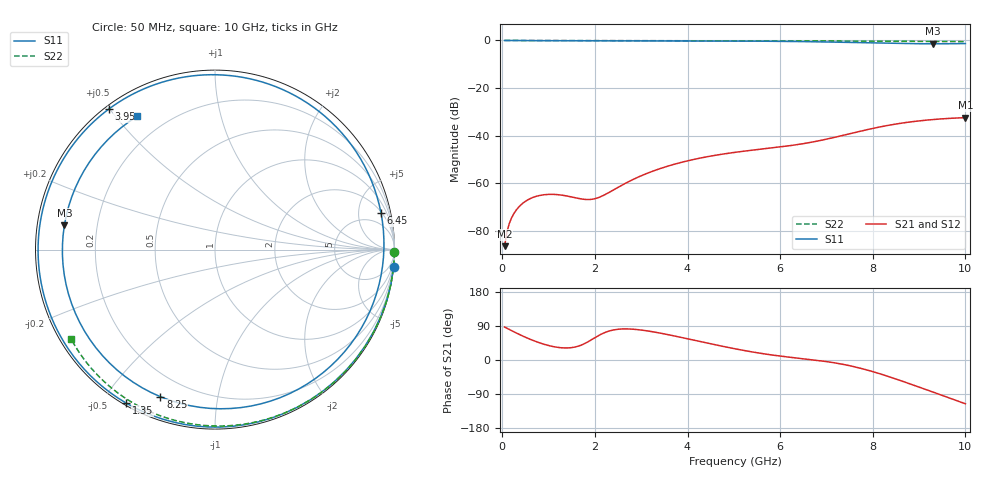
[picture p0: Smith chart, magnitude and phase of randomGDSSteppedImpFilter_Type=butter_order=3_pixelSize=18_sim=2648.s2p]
! freq	dB(S11)	phase(S11)	dB(S12)	phase(S12)
!  dB(S21)	phase(S21)	dB(S22)	phase(S22)
!S-par simulation data
#  GHz  S  DB  R 50
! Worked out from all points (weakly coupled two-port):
!   200 points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, 50 MHz to 10 GHz, reference 50 ohm
!   highest |S21| = -32.44 dB at 10 GHz (marker M1); lowest = -86.4 dB at 50 MHz (marker M2)
!   lowest |S11| = -1.4 dB at 9.3 GHz (marker M3), VSWR 12.33, Z = 4.08 + j3.98 ohm
!   |S11| at or under -10 dB: nowhere
!   |S22| runs from -0.5 to 0.0 dB; largest |S21 - S12| = 0
!   S11 on the Smith chart (normalised r, x): 50 MHz: 0, -21; 1.35 GHz: 0.01, -0.58; 3.95 GHz: 0.01, +0.50; 6.45 GHz: 2.21, +8.69; 8.25 GHz: 0.10, -0.69; 10 GHz: 0.10, +0.57
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0.05  -0.00 -5.5  -86.44 86.8  -86.44 86.8  -0.00 -0.9
0.1  -0.01 -11.1  -80.45 83.7  -80.45 83.7  -0.00 -1.7
0.35  -0.06 -37.8  -70.10 68.5  -70.10 68.5  -0.01 -6.0
0.65  -0.08 -67.0  -66.05 52.3  -66.05 52.3  -0.01 -11.0
0.95  -0.10 -92.2  -64.73 39.8  -64.73 39.8  -0.02 -16.1
1.35  -0.11 -120.1  -65.19 31.8  -65.19 31.8  -0.03 -22.8
1.75  -0.11 -142.8  -66.71 41.7  -66.71 41.7  -0.04 -29.4
2.5  -0.12 -177.2  -61.71 81.1  -61.71 81.1  -0.05 -41.7
3.4  -0.14 147.8  -53.89 71.2  -53.89 71.2  -0.07 -55.9
3.95  -0.16 127.2  -50.82 57.3  -50.82 57.3  -0.09 -64.4
5.05  -0.24 82.9  -46.94 29.0  -46.94 29.0  -0.12 -80.8
5.75  -0.33 50.3  -45.32 14.5  -45.32 14.5  -0.15 -90.8
6.45  -0.47 12.4  -43.52 4.0  -43.52 4.0  -0.19 -100.6
6.7  -0.54 -2.6  -42.67 0.6  -42.67 0.6  -0.20 -104.1
7.15  -0.69 -31.6  -40.83 -6.9  -40.83 -6.9  -0.23 -110.2
7.6  -0.88 -62.7  -38.74 -17.8  -38.74 -17.8  -0.26 -116.2
7.95  -1.04 -88.1  -37.17 -28.9  -37.17 -28.9  -0.29 -120.9
8.25  -1.17 -110.3  -35.97 -40.1  -35.97 -40.1  -0.32 -124.9
8.35  -1.21 -117.8  -35.61 -44.0  -35.61 -44.0  -0.33 -126.2
8.85  -1.36 -155.5  -34.14 -65.0  -34.14 -65.0  -0.37 -132.8
9.3  -1.41 170.8  -33.23 -84.6  -33.23 -84.6  -0.42 -138.7
10  -1.31 120.3  -32.44 -115.6  -32.44 -115.6  -0.50 -148.0
